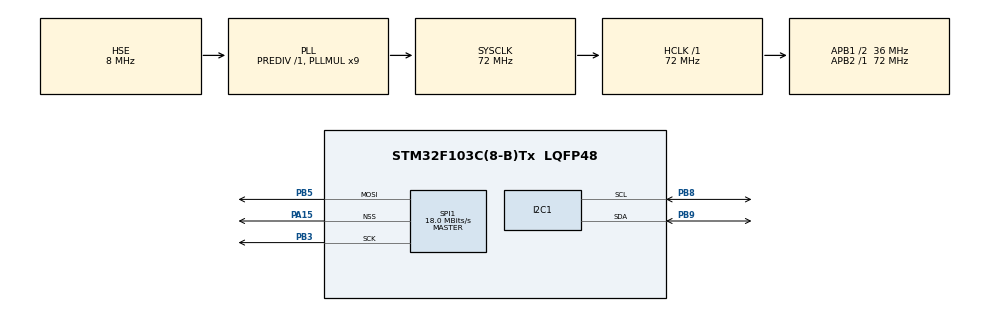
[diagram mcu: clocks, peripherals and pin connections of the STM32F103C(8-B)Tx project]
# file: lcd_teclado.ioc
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Mcu.Family=STM32F1
Mcu.Name=STM32F103C(8-B)Tx
Mcu.Package=LQFP48
NVIC.PriorityGroup=NVIC_PRIORITYGROUP_4
NVIC.TIM2_IRQn=true\:0\:0\:false\:false\:true\:true\:true\:true
PA13.Mode=Serial_Wire
PA13.Signal=SYS_JTMS-SWDIO
PA14.Mode=Serial_Wire
PA14.Signal=SYS_JTCK-SWCLK
PA15.Mode=NSS_Signal_Hard_Output
PA15.Signal=SPI1_NSS
PB3.Mode=TX_Only_Simplex_Unidirect_Master
PB3.Signal=SPI1_SCK
PB5.Mode=TX_Only_Simplex_Unidirect_Master
PB5.Signal=SPI1_MOSI
PB8.Mode=I2C
PB8.Signal=I2C1_SCL
PB9.Mode=I2C
PB9.Signal=I2C1_SDA
PD0-OSC_IN.Mode=HSE-External-Oscillator
PD0-OSC_IN.Signal=RCC_OSC_IN
PD1-OSC_OUT.Mode=HSE-External-Oscillator
PD1-OSC_OUT.Signal=RCC_OSC_OUT
ProjectManager.HeapSize=0x200
ProjectManager.StackSize=0x400
ProjectManager.TargetToolchain=STM32CubeIDE
RCC.AHBFreq_Value=72000000
RCC.APB1CLKDivider=RCC_HCLK_DIV2
RCC.APB1Freq_Value=36000000
RCC.APB1TimFreq_Value=72000000
RCC.APB2Freq_Value=72000000
RCC.APB2TimFreq_Value=72000000
RCC.HCLKFreq_Value=72000000
RCC.PLLMUL=RCC_PLL_MUL9
RCC.PLLSourceVirtual=RCC_PLLSOURCE_HSE
RCC.SYSCLKFreq_VALUE=72000000
RCC.SYSCLKSource=RCC_SYSCLKSOURCE_PLLCLK
RCC.USBFreq_Value=72000000
SPI1.BaudRatePrescaler=SPI_BAUDRATEPRESCALER_4
SPI1.CalculateBaudRate=18.0 MBits/s
SPI1.DataSize=SPI_DATASIZE_16BIT
SPI1.Direction=SPI_DIRECTION_2LINES
SPI1.Mode=SPI_MODE_MASTER
SPI1.VirtualNSS=VM_NSSHARD
SPI1.VirtualType=VM_MASTER
TIM2.Period=5000
TIM2.Prescaler=7200-1
VP_TIM2_VS_ClockSourceINT.Mode=Internal
board=custom

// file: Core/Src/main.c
/* USER CODE BEGIN Header */
/**
  ******************************************************************************
  * @file           : main.c
  * @brief          : Main program body
  ******************************************************************************
  * @attention
  *
  * Copyright (c) 2023 STMicroelectronics.
  * All rights reserved.
  *
  * This software is licensed under terms that can be found in the LICENSE file
  * in the root directory of this software component.
  * If no LICENSE file comes with this software, it is provided AS-IS.
  *
  ******************************************************************************
  */
/* USER CODE END Header */
#include "main.h"

/* USER CODE BEGIN Includes */
#include "LCD_I2C.h"
#include "stdio.h"
#include "string.h"
#include "KEYPAD.h"
/* USER CODE END Includes */

I2C_HandleTypeDef hi2c1;

SPI_HandleTypeDef hspi1;

TIM_HandleTypeDef htim2;

void SystemClock_Config(void);
static void MX_GPIO_Init(void);
static void MX_I2C1_Init(void);
static void MX_TIM2_Init(void);
static void MX_SPI1_Init(void);
/* USER CODE BEGIN PFP */
void Display_Handler(void);
uint8_t ack;
uint16_t dato_spi;
uint8_t gu8_KeyStatesArr[KEYS] = {0};
/* USER CODE END PFP */

int main(void)
{

  /* MCU Configuration--------------------------------------------------------*/

  /* Reset of all peripherals, Initializes the Flash interface and the Systick. */
  HAL_Init();

  /* Configure the system clock */
  SystemClock_Config();

  /* Initialize all configured peripherals */
  MX_GPIO_Init();
  MX_I2C1_Init();
  MX_TIM2_Init();
  MX_SPI1_Init();
  /* USER CODE BEGIN 2 */
 // HAL_TIM_Base_Start_IT(&htim2);

  ack = HAL_I2C_IsDeviceReady(&hi2c1, 0x27, 3, 6);
  if(ack == HAL_OK){
  		HAL_Delay(5000);
  		HAL_GPIO_WritePin(GPIOC, GPIO_PIN_13, 1);
  		HAL_Delay(5000);
  		HAL_GPIO_WritePin(GPIOC, GPIO_PIN_13, 0);
  	  }

  //LCD_I2C_init();
  //LCD_I2C_write_text("menos mal");
 // LCD_I2C_cmd(LCD_LINEA2);
  //LCD_I2C_write_text("que no te");
  //LCD_I2C_cmd(LCD_LINEA3);
 // LCD_I2C_write_text("espero >:c");

  dato_spi=0b0111111111111111;//0011.000000000000 primeros 4 conf, 12 dato

  HAL_SPI_Transmit(&hspi1,&dato_spi,16,6);

  /* USER CODE END 2 */

  /* Infinite loop */
  while (1)
  {

  }
}

void SystemClock_Config(void)
{
  RCC_OscInitTypeDef RCC_OscInitStruct = {0};
  RCC_ClkInitTypeDef RCC_ClkInitStruct = {0};

  /** Initializes the RCC Oscillators according to the specified parameters
  * in the RCC_OscInitTypeDef structure.
  */
  RCC_OscInitStruct.OscillatorType = RCC_OSCILLATORTYPE_HSE;
  RCC_OscInitStruct.HSEState = RCC_HSE_ON;
  RCC_OscInitStruct.HSEPredivValue = RCC_HSE_PREDIV_DIV1;
  RCC_OscInitStruct.HSIState = RCC_HSI_ON;
  RCC_OscInitStruct.PLL.PLLState = RCC_PLL_ON;
  RCC_OscInitStruct.PLL.PLLSource = RCC_PLLSOURCE_HSE;
  RCC_OscInitStruct.PLL.PLLMUL = RCC_PLL_MUL9;
  if (HAL_RCC_OscConfig(&RCC_OscInitStruct) != HAL_OK)
  {
    Error_Handler();
  }

  /** Initializes the CPU, AHB and APB buses clocks
  */
  RCC_ClkInitStruct.ClockType = RCC_CLOCKTYPE_HCLK|RCC_CLOCKTYPE_SYSCLK
                              |RCC_CLOCKTYPE_PCLK1|RCC_CLOCKTYPE_PCLK2;
  RCC_ClkInitStruct.SYSCLKSource = RCC_SYSCLKSOURCE_PLLCLK;
  RCC_ClkInitStruct.AHBCLKDivider = RCC_SYSCLK_DIV1;
  RCC_ClkInitStruct.APB1CLKDivider = RCC_HCLK_DIV2;
  RCC_ClkInitStruct.APB2CLKDivider = RCC_HCLK_DIV1;

  if (HAL_RCC_ClockConfig(&RCC_ClkInitStruct, FLASH_LATENCY_2) != HAL_OK)
  {
    Error_Handler();
  }
}

static void MX_I2C1_Init(void)
{

  hi2c1.Instance = I2C1;
  hi2c1.Init.ClockSpeed = 100000;
  hi2c1.Init.DutyCycle = I2C_DUTYCYCLE_2;
  hi2c1.Init.OwnAddress1 = 0;
  hi2c1.Init.AddressingMode = I2C_ADDRESSINGMODE_7BIT;
  hi2c1.Init.DualAddressMode = I2C_DUALADDRESS_DISABLE;
  hi2c1.Init.OwnAddress2 = 0;
  hi2c1.Init.GeneralCallMode = I2C_GENERALCALL_DISABLE;
  hi2c1.Init.NoStretchMode = I2C_NOSTRETCH_DISABLE;
  if (HAL_I2C_Init(&hi2c1) != HAL_OK)
  {
    Error_Handler();
  }

}

static void MX_SPI1_Init(void)
{

  /* SPI1 parameter configuration*/
  hspi1.Instance = SPI1;
  hspi1.Init.Mode = SPI_MODE_MASTER;
  hspi1.Init.Direction = SPI_DIRECTION_2LINES;
  hspi1.Init.DataSize = SPI_DATASIZE_16BIT;
  hspi1.Init.CLKPolarity = SPI_POLARITY_LOW;
  hspi1.Init.CLKPhase = SPI_PHASE_1EDGE;
  hspi1.Init.NSS = SPI_NSS_HARD_INPUT;
  hspi1.Init.BaudRatePrescaler = SPI_BAUDRATEPRESCALER_4;
  hspi1.Init.FirstBit = SPI_FIRSTBIT_MSB;
  hspi1.Init.TIMode = SPI_TIMODE_DISABLE;
  hspi1.Init.CRCCalculation = SPI_CRCCALCULATION_DISABLE;
  hspi1.Init.CRCPolynomial = 10;
  if (HAL_SPI_Init(&hspi1) != HAL_OK)
  {
    Error_Handler();
  }

}

static void MX_TIM2_Init(void)
{

  TIM_ClockConfigTypeDef sClockSourceConfig = {0};
  TIM_MasterConfigTypeDef sMasterConfig = {0};

  htim2.Instance = TIM2;
  htim2.Init.Prescaler = 7200-1;
  htim2.Init.CounterMode = TIM_COUNTERMODE_UP;
  htim2.Init.Period = 5000;
  htim2.Init.ClockDivision = TIM_CLOCKDIVISION_DIV1;
  htim2.Init.AutoReloadPreload = TIM_AUTORELOAD_PRELOAD_DISABLE;
  if (HAL_TIM_Base_Init(&htim2) != HAL_OK)
  {
    Error_Handler();
  }
  sClockSourceConfig.ClockSource = TIM_CLOCKSOURCE_INTERNAL;
  if (HAL_TIM_ConfigClockSource(&htim2, &sClockSourceConfig) != HAL_OK)
  {
    Error_Handler();
  }
  sMasterConfig.MasterOutputTrigger = TIM_TRGO_RESET;
  sMasterConfig.MasterSlaveMode = TIM_MASTERSLAVEMODE_DISABLE;
  if (HAL_TIMEx_MasterConfigSynchronization(&htim2, &sMasterConfig) != HAL_OK)
  {
    Error_Handler();
  }

}

static void MX_GPIO_Init(void)
{

  /* GPIO Ports Clock Enable */
  __HAL_RCC_GPIOD_CLK_ENABLE();
  __HAL_RCC_GPIOA_CLK_ENABLE();
  __HAL_RCC_GPIOB_CLK_ENABLE();

}

/* USER CODE BEGIN 4 */
void HAL_TIM_PeriodElapsedCallback(TIM_HandleTypeDef *htim)
{
  if(htim->Instance == TIM2)
  {
	  KEYPAD_Scan(0);
	  //se puede sumar aca el sensor de temp
  }
}

void Display_Handler(void)
{
    if(gu8_KeyStatesArr[KEY_1] == KEY_PRESSED)
    {
    	LCD_I2C_write_text("1");
    while(gu8_KeyStatesArr[KEY_1] == KEY_PRESSED);
    }
    if(gu8_KeyStatesArr[KEY_2] == KEY_PRESSED)
    {
    	LCD_I2C_write_text("2");
    while(gu8_KeyStatesArr[KEY_2] == KEY_PRESSED);
    }
    if(gu8_KeyStatesArr[KEY_3] == KEY_PRESSED)
    {
    	LCD_I2C_write_text("3");
    while(gu8_KeyStatesArr[KEY_3] == KEY_PRESSED);
    }
    if(gu8_KeyStatesArr[KEY_4] == KEY_PRESSED)
    {
    	LCD_I2C_write_text("4");
    while(gu8_KeyStatesArr[KEY_4] == KEY_PRESSED);
    }
    if(gu8_KeyStatesArr[KEY_5] == KEY_PRESSED)
    {
    	LCD_I2C_write_text("5");
    while(gu8_KeyStatesArr[KEY_5] == KEY_PRESSED);
    }
    if(gu8_KeyStatesArr[KEY_6] == KEY_PRESSED)
    {
    	LCD_I2C_write_text("6");
    while(gu8_KeyStatesArr[KEY_6] == KEY_PRESSED);
    }
    if(gu8_KeyStatesArr[KEY_7] == KEY_PRESSED)
    {
    	LCD_I2C_write_text("7");
    while(gu8_KeyStatesArr[KEY_7] == KEY_PRESSED);
    }
    if(gu8_KeyStatesArr[KEY_8] == KEY_PRESSED)
    {
    	LCD_I2C_write_text("8");
    while(gu8_KeyStatesArr[KEY_8] == KEY_PRESSED);
    }
    if(gu8_KeyStatesArr[KEY_9] == KEY_PRESSED)
    {
    	LCD_I2C_write_text("9");
    while(gu8_KeyStatesArr[KEY_9] == KEY_PRESSED);
    }
    if(gu8_KeyStatesArr[KEY_0] == KEY_PRESSED)
    {
    	LCD_I2C_write_text("0");
    while(gu8_KeyStatesArr[KEY_0] == KEY_PRESSED);
    }
    if(gu8_KeyStatesArr[KEY_A] == KEY_PRESSED)
    {
    	LCD_I2C_write_text("*");
    while(gu8_KeyStatesArr[KEY_A] == KEY_PRESSED);
    }
    if(gu8_KeyStatesArr[KEY_H] == KEY_PRESSED)
    {
    	LCD_I2C_write_text("#");
    while(gu8_KeyStatesArr[KEY_H] == KEY_PRESSED);
    }
    if(gu8_KeyStatesArr[KEY_F1] == KEY_PRESSED)
    {
    	LCD_I2C_write_text("CP");
    while(gu8_KeyStatesArr[KEY_F1] == KEY_PRESSED);
    }
    if(gu8_KeyStatesArr[KEY_F2] == KEY_PRESSED)
    {
    	LCD_I2C_write_text("CR");
    while(gu8_KeyStatesArr[KEY_F2] == KEY_PRESSED);
    }
    if(gu8_KeyStatesArr[KEY_F3] == KEY_PRESSED)
       {
       	LCD_I2C_write_text("CC");
       while(gu8_KeyStatesArr[KEY_F3] == KEY_PRESSED);
       }
    if(gu8_KeyStatesArr[KEY_F4] == KEY_PRESSED)
    {
    	LCD_I2C_write_text("CV");
    while(gu8_KeyStatesArr[KEY_F4] == KEY_PRESSED);
    }
}

/* USER CODE END 4 */

void Error_Handler(void)
{
  __disable_irq();
  while (1)
  {
  }
}
